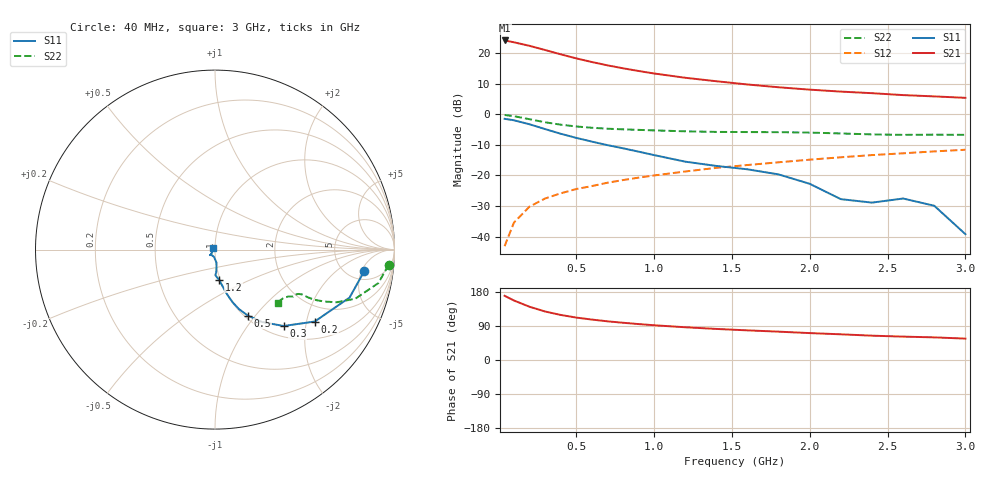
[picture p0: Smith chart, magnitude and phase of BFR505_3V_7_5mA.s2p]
! Filename:  BFR505F.S2P  Version:  3.0
! Philips part #: BFR505  Date: Feb 1992
! Bias condition: Vce=3V, Ic=7.5mA
#  MHz  S  MA  R  50
! Freq  S11  S21  S12  S22  !GUM [dB]
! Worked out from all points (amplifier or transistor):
!   21 points, 40 MHz to 3 GHz, reference 50 ohm
!   highest |S21| = 24.1 dB at 40 MHz (marker M1)
!   |S21| within 3 dB of that: start of sweep to 291.3 MHz
!   unconditionally stable (mu >= 1): 1.201 GHz to end of sweep
!   at 300 MHz: K = 0.57, MSG = 24.3 dB, |S12| = -27.5 dB
!   at 1 GHz: K = 0.96, MSG = 16.7 dB, |S12| = -20.0 dB
!   at 3 GHz: K = 1.05, MAG = 7.1 dB, |S12| = -11.6 dB
!   S11 on the Smith chart (normalised r, x): 40 MHz: 6.96, -5.63; 200 MHz: 1.48, -2.24; 300 MHz: 1.19, -1.51; 500 MHz: 1.04, -0.92; 1.2 GHz: 0.99, -0.34; 3 GHz: 0.98, +0.01
40  0.841 -8.1  16.01 169.4  0.007 84.5  0.971 -5.0
100  0.796 -19.6  14.95 157.0  0.017 79.3  0.929 -11.6
200  0.685 -35.8  13.08 140.5  0.031 72.1  0.828 -19.3
300  0.572 -48.1  11.18 128.0  0.042 69.7  0.739 -23.4
400  0.48 -57.1  9.517 118.9  0.051 68.6  0.675 -25.4
500  0.411 -63.5  8.163 112.0  0.06 68.9  0.631 -26.5
600  0.357 -68.1  7.124 106.7  0.067 69.1  0.601 -27.0
700  0.313 -71.2  6.289 102.1  0.076 69.9  0.58 -27.2
800  0.278 -73.5  5.626 98.3  0.084 70.3  0.566 -27.2
900  0.245 -75.9  5.082 94.8  0.092 70.9  0.555 -27.3
1000  0.215 -77.8  4.626 91.7  0.1 71.0  0.544 -27.3
1200  0.168 -82.7  3.939 86.4  0.116 71.4  0.526 -28.0
1400  0.143 -89.2  3.456 82.0  0.133 71.6  0.514 -29.2
1600  0.126 -86.9  3.058 78.2  0.148 71.7  0.511 -30.0
1800  0.104 -85.6  2.755 74.8  0.164 71.8  0.509 -31.0
2000  0.073 -83.5  2.519 71.0  0.181 71.1  0.501 -31.4
2200  0.041 -97.8  2.34 67.8  0.198 70.4  0.485 -32.6
2400  0.036 -130.1  2.205 64.2  0.215 69.6  0.468 -35.1
2600  0.042 -132.4  2.052 61.7  0.23 69.0  0.46 -37.9
2800  0.032 -129.6  1.954 59.7  0.247 68.8  0.464 -39.6
3000  0.011 144.2  1.852 56.5  0.263 67.8  0.46 -40.1
